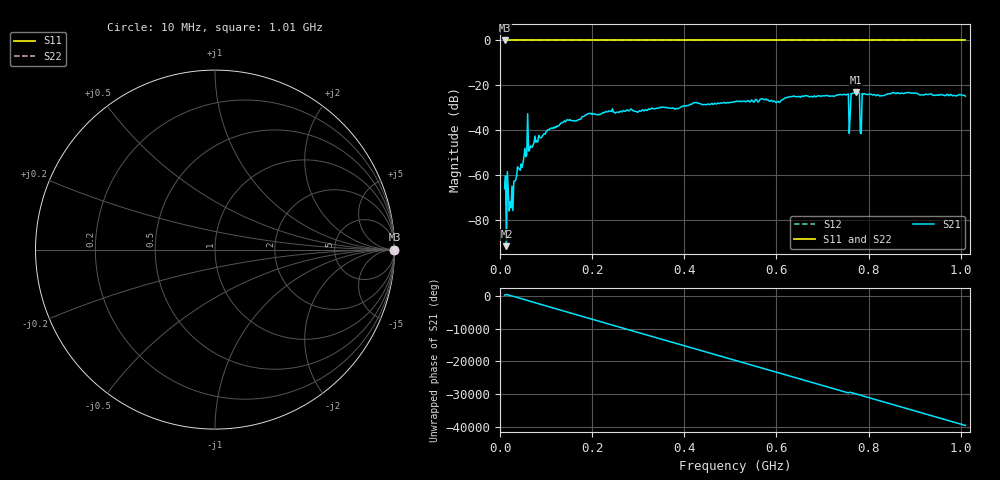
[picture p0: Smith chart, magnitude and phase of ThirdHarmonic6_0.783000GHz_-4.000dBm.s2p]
! 8/16/2025 2:07:42 AM
! C:\ANRITSUVNA\TEMP\TEMP.S2P
! CHANNEL.1
! TR.MEASUREMENT
! RAW.DATA
! RF.CORRECTION.OFF
! AVERAGING.OFF
! IF.BANDWIDTH: 5KHZ
! SWEEPTYPE:  FREQ.SWEEP(Linear)
! Reference Plane Port Info
! PORT:  PORT1  PORT2
! DISTANCE:  0  m  0  m
! TIME:  0  s  0  s
! PHASE.OFFSET:  0  deg.  0  deg.
! LOSS:  0  dB  0  dB
! REF.LOSS:  0  dB  0  dB
! REF.FREQ:  0  Hz  0  Hz
! Power Info
! POWER:  -20  dBm  -20  dBm
! EFF.POWER:  -20  dBm  -20  dBm
! SOURCE.ATTEN:  0  dB  0  dB
! TEST.ATTEN:  0  dB  0  dB
# GHZ S RI R 50.0
! FREQ.GHZ  S11RE  S11IM  S21RE  S21IM  S12RE  S12IM  S22RE  S22IM
!; PortSelection: Port_12
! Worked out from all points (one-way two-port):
!   501 points, 10 MHz to 1.01 GHz, reference 50 ohm
!   highest |S21| = -23.11 dB at 772 MHz (marker M1); lowest = -91.4 dB at 14 MHz (marker M2)
!   lowest |S11| = 0.0 dB at 10 MHz (marker M3)
!   |S11| at or under -10 dB: nowhere
!   |S22| runs from 0.0 to 0.0 dB; largest |S21 - S12| = 1.1
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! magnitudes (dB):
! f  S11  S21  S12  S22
! 10 MHz  0.0  -65.8  0.0  0.0
! 14 MHz  0.0  -91.4  0.0  0.0
! 24 MHz  0.0  -74.4  0.0  0.0
! 34 MHz  0.0  -62.1  0.0  0.0
! 54 MHz  0.0  -47.9  0.0  0.0
! 56 MHz  0.0  -51.6  0.0  0.0
! 64 MHz  0.0  -48.9  0.0  0.0
! 66 MHz  0.0  -46.8  0.0  0.0
! 108 MHz  0.0  -39.3  0.0  0.0
! 178 MHz  0.0  -33.9  0.0  0.0
! 344 MHz  0.0  -30.2  0.0  0.0
! 510 MHz  0.0  -27.1  0.0  0.0
! 678 MHz  0.0  -25.1  0.0  0.0
! 752 MHz  0.0  -24.1  0.0  0.0
! 756 MHz  0.0  -23.8  0.0  0.0
! 772 MHz  0.0  -23.1  0.0  0.0
! 776 MHz  0.0  -23.2  0.0  0.0
! 780 MHz  0.0  -23.4  0.0  0.0
! 786 MHz  0.0  -23.6  0.0  0.0
! 790 MHz  0.0  -23.6  0.0  0.0
! 844 MHz  0.0  -23.6  0.0  0.0
! 1.01 GHz  0.0  -24.8  0.0  0.0
